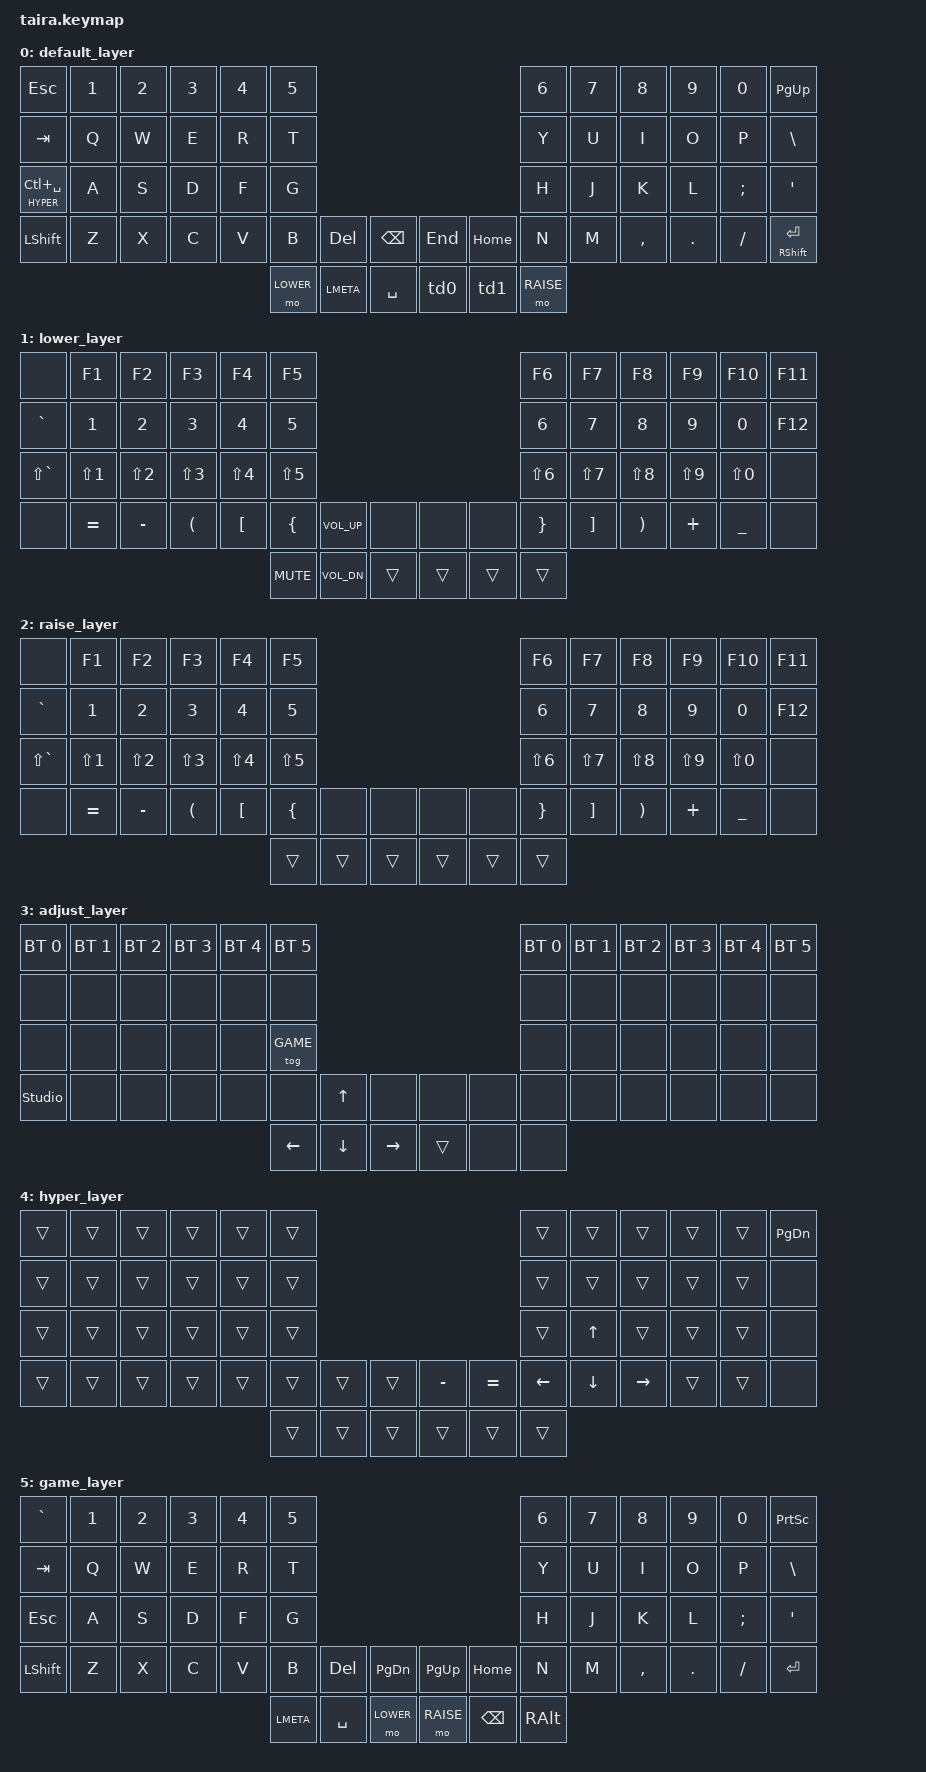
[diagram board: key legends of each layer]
/*
 * Copyright (c) 2020 The ZMK Contributors
 *
 * SPDX-License-Identifier: MIT
 */

#include <behaviors.dtsi>
#include <dt-bindings/zmk/keys.h>
#include <dt-bindings/zmk/outputs.h>
#include <dt-bindings/zmk/bt.h>

#define DEFAULT 0
#define LOWER   1
#define RAISE   2
#define ADJUST  3
#define HYPER   4
#define GAME    5

/ {
        behaviors {
            td0: tap_dance_0 {
                compatible = "zmk,behavior-tap-dance";
                #binding-cells = <0>;
                tapping-term-ms = <200>;
                bindings = <&kp MINUS>, <&kp LBKT>;
            };

            td1: tap_dance_1 {
                compatible = "zmk,behavior-tap-dance";
                #binding-cells = <0>;
                tapping-term-ms = <200>;
                bindings = <&kp EQUAL>, <&kp RBKT>;
            };
        };

        conditional_layers {
                compatible = "zmk,conditional-layers";

                tri_layer {
                        if-layers  = <1 2>;
                        then-layer = <3>;
                };
        };

        keymap {
                compatible = "zmk,keymap";

                default_layer {
/* QWERTY
 * .----------------------------------------------------------------------------------------------------------------------------------.
 * | ESC  |   1  |   2  |   3  |   4  |   5  |                                              |   6  |   7  |   8  |   9  |   0  | BSPC |
 * |-------------+------+------+------+------+------+------+-------+-+-------+-------+------+------+------+------+------+------+------|
 * | Tab  |   Q  |   W  |   E  |   R  |   T  |                                              |   Y  |   U  |   I  |   O  |   P  | BSLH |
 * |-------------+------+------+------+------+------+------+-------+-+-------+-------+------+------+------+------+------+------+------|
 * | HYPER|   A  |   S  |   D  |   F  |   G  |                                              |   H  |   J  |   K  |   L  |   ;  |  '   |
 * |-------------+------+------+------+------+------+------+-------+-+-------+-------+------+------+------+------+------+------+------|
 * | Shift|   Z  |   X  |   C  |   V  |   B  |      | Del  | PGDN  | | PGUP  | Home  |      |   N  |   M  |   ,  |   .  |   /  | Shift/Enter|
 * |-------------+------+------+------+------+------+------+-------+-+-------+-------+------+------+------+------+------+------+------|
 * |      |      |      |      |             | Meta | Space| Lower | | Raise |L Brkt |R Brkt|      |      |      |      |      |      |
 * .----------------------------------------------------------------------------------------------------------------------------------.
 */
                        bindings = <
&kp  ESC             &kp  N1    &kp  N2     &kp  N3     &kp  N4    &kp  N5                                                                        &kp  N6  &kp  N7    &kp  N8     &kp  N9    &kp  N0       &kp  PG_UP
&kp  TAB             &kp  Q     &kp  W      &kp  E      &kp  R     &kp  T                                                                         &kp  Y   &kp  U     &kp  I      &kp  O     &kp  P        &kp  BSLH
&lt  HYPER LC(SPACE) &kp  A     &kp  S      &kp  D      &kp  F     &kp  G                                                                         &kp  H   &kp  J     &kp  K      &kp  L     &kp  SEMI     &kp  SQT
&kp  LSHFT           &kp  Z     &kp  X      &kp  C      &kp  V     &kp  B             &kp  DEL    &kp  BSPC     &kp  END    &kp  HOME             &kp  N   &kp  M     &kp  COMMA  &kp  DOT   &kp  SLASH    &mt  RSHFT ENTER
                                                                           &mo  LOWER &kp  LMETA  &kp  SPACE    &td0        &td1      &mo  RAISE
                        >;
                };

                lower_layer {
/* QWERTY
 * .----------------------------------------------------------------------------------------------------------------------------------.
 * |  `   |   1  |   2  |   3  |   4  |   5  |                                              |   6  |   7  |   8  |   9  |   0  | PScr |
 * |-------------+------+------+------+------+------+------+-------+-+-------+-------+------+------+------+------+------+------+------|
 * | ESC  |   Q  |   W  |   E  |   R  |   T  |                                              |   Y  |   U  |   I  |   O  |   P  |  \   |
 * |-------------+------+------+------+------+------+------+-------+-+-------+-------+------+------+------+------+------+------+------|
 * | Tab  |   A  |   S  |   D  |   F  |   G  |                                              |   H  |   J  |   K  |   L  |   ;  |  '   |
 * |-------------+------+------+------+------+------+------+-------+-+-------+-------+------+------+------+------+------+------+------|
 * | Shift|   Z  |   X  |   C  |   V  |   B  |      | Del  | PGDN  | | PGUP  | Home  |      |   N  |   M  |   ,  |   .  |   /  | Shift|
 * |-------------+------+------+------+------+------+------+-------+-+-------+-------+------+------+------+------+------+------+------|
 * |      |      |      |      |             | Meta | Space| Lower | | Raise | Enter | RAlt |             |      |      |      |      |
 * .----------------------------------------------------------------------------------------------------------------------------------.
 */
                        bindings = <
&none          &kp  F1      &kp  F2      &kp  F3     &kp  F4     &kp  F5                                                                        &kp  F6    &kp  F7    &kp  F8     &kp  F9    &kp  F10      &kp  F11
&kp  GRAVE     &kp  N1      &kp  N2      &kp  N3     &kp  N4     &kp  N5                                                                        &kp  N6    &kp  N7    &kp  N8     &kp  N9    &kp  N0       &kp  F12
&kp  LS(GRAVE) &kp LS(N1)   &kp  LS(N2)  &kp  LS(N3) &kp  LS(N4) &kp  LS(N5)                                                                    &kp LS(N6) &kp LS(N7) &kp LS(N8)  &kp LS(N9) &kp  LS(N0)   &none
&none          &kp EQUAL    &kp MINUS    &kp  LPAR   &kp  LBKT   &kp  LBRC          &kp C_VOL_UP       &none         &none       &none          &kp RBRC   &kp RBKT   &kp RPAR    &kp PLUS   &kp  UNDER    &none
                                                                       &kp C_MUTE    &kp C_VOL_DN      &trans        &trans      &trans    &trans                             
                        >;
                };

                raise_layer {
/* QWERTY
 * .----------------------------------------------------------------------------------------------------------------------------------.
 * |  `   |   1  |   2  |   3  |   4  |   5  |                                              |   6  |   7  |   8  |   9  |   0  | PScr |
 * |-------------+------+------+------+------+------+------+-------+-+-------+-------+------+------+------+------+------+------+------|
 * | ESC  |   Q  |   W  |   E  |   R  |   T  |                                              |   Y  |   U  |   I  |   O  |   P  |  \   |
 * |-------------+------+------+------+------+------+------+-------+-+-------+-------+------+------+------+------+------+------+------|
 * | Tab  |   A  |   S  |   D  |   F  |   G  |                                              |   H  |   J  |   K  |   L  |   ;  |  '   |
 * |-------------+------+------+------+------+------+------+-------+-+-------+-------+------+------+------+------+------+------+------|
 * | Shift|   Z  |   X  |   C  |   V  |   B  |      | Del  | PGDN  | | PGUP  | Home  |      |   N  |   M  |   ,  |   .  |   /  | Shift|
 * |-------------+------+------+------+------+------+------+-------+-+-------+-------+------+------+------+------+------+------+------|
 * |      |      |      |      |             | Meta | Space| Lower | | Raise | Enter | RAlt |             |      |      |      |      |
 * .----------------------------------------------------------------------------------------------------------------------------------.
 */
                        bindings = <
&none          &kp  F1      &kp  F2      &kp  F3     &kp  F4     &kp  F5                                                                        &kp  F6    &kp  F7    &kp  F8     &kp  F9    &kp  F10      &kp  F11
&kp  GRAVE     &kp  N1      &kp  N2      &kp  N3     &kp  N4     &kp  N5                                                                        &kp  N6    &kp  N7    &kp  N8     &kp  N9    &kp  N0       &kp  F12
&kp  LS(GRAVE) &kp LS(N1)   &kp  LS(N2)  &kp  LS(N3) &kp  LS(N4) &kp  LS(N5)                                                                    &kp LS(N6) &kp LS(N7) &kp LS(N8)  &kp LS(N9) &kp  LS(N0)   &none
&none          &kp EQUAL    &kp MINUS    &kp  LPAR   &kp  LBKT   &kp  LBRC          &none       &none         &none       &none                 &kp RBRC   &kp RBKT   &kp RPAR    &kp PLUS   &kp  UNDER    &none
                                                                          &trans    &trans      &trans        &trans      &trans    &trans                             
                        >;
                };

                adjust_layer {
/* QWERTY
 * .----------------------------------------------------------------------------------------------------------------------------------.
 * |  `   |   1  |   2  |   3  |   4  |   5  |                                              |   6  |   7  |   8  |   9  |   0  | PScr |
 * |-------------+------+------+------+------+------+------+-------+-+-------+-------+------+------+------+------+------+------+------|
 * | ESC  |   Q  |   W  |   E  |   R  |   T  |                                              |   Y  |   U  |   I  |   O  |   P  |  \   |
 * |-------------+------+------+------+------+------+------+-------+-+-------+-------+------+------+------+------+------+------+------|
 * | Tab  |   A  |   S  |   D  |   F  |   G  |                                              |   H  |   J  |   K  |   L  |   ;  |  '   |
 * |-------------+------+------+------+------+------+------+-------+-+-------+-------+------+------+------+------+------+------+------|
 * | Shift|   Z  |   X  |   C  |   V  |   B  |      | Del  | PGDN  | | PGUP  | Home  |      |   N  |   M  |   ,  |   .  |   /  | Shift|
 * |-------------+------+------+------+------+------+------+-------+-+-------+-------+------+------+------+------+------+------+------|
 * |      |      |      |      |             | Meta | Space| Lower | | Raise | Enter | RAlt |             |      |      |      |      |
 * .----------------------------------------------------------------------------------------------------------------------------------.
 */
                        bindings = <
&bt BT_SEL 0 &bt BT_SEL 1 &bt BT_SEL 2 &bt BT_SEL 3 &bt BT_SEL 4 &bt BT_SEL 5                                                                          &bt BT_SEL 0 &bt BT_SEL 1 &bt BT_SEL 2 &bt BT_SEL 3 &bt BT_SEL 4 &bt BT_SEL 5
&none            &none        &none        &none        &none        &none                                                                             &none        &none        &none        &none        &none        &none
&none            &none        &none        &none        &none        &tog GAME                                                                         &none        &none        &none        &none        &none        &none
&studio_unlock   &none        &none        &none        &none        &none                 &kp UP      &none         &none       &none                 &none        &none        &none        &none        &none        &none
                                                                                 &kp LEFT  &kp DOWN    &kp RIGHT     &trans      &none     &none
                        >;
                };

                hyper_layer {
/* QWERTY
 * .----------------------------------------------------------------------------------------------------------------------------------.
 * |  `   |   1  |   2  |   3  |   4  |   5  |                                              |   6  |   7  |   8  |   9  |   0  | PScr |
 * |-------------+------+------+------+------+------+------+-------+-+-------+-------+------+------+------+------+------+------+------|
 * | ESC  |   Q  |   W  |   E  |   R  |   T  |                                              |   Y  |   U  |   I  |   O  |   P  |  \   |
 * |-------------+------+------+------+------+------+------+-------+-+-------+-------+------+------+------+------+------+------+------|
 * | Tab  |   A  |   S  |   D  |   F  |   G  |                                              |   H  |   J  |   K  |   L  |   ;  |  '   |
 * |-------------+------+------+------+------+------+------+-------+-+-------+-------+------+------+------+------+------+------+------|
 * | Shift|   Z  |   X  |   C  |   V  |   B  |      | Del  | PGDN  | | PGUP  | Home  |      |   N  |   M  |   ,  |   .  |   /  | Shift|
 * |-------------+------+------+------+------+------+------+-------+-+-------+-------+------+------+------+------+------+------+------|
 * |      |      |      |      |             | Meta | Space| Lower | | Raise | Enter | RAlt |             |      |      |      |      |
 * .----------------------------------------------------------------------------------------------------------------------------------.
 */
                        bindings = <
&trans        &trans     &trans      &trans      &trans      &trans                                                                         &trans   &trans     &trans      &trans     &trans        &kp  PG_DN
&trans        &trans     &trans      &trans      &trans      &trans                                                                         &trans   &trans     &trans      &trans     &trans        &none
&trans        &trans     &trans      &trans      &trans      &trans                                                                         &trans   &kp UP     &trans      &trans     &trans        &none
&trans        &trans     &trans      &trans      &trans      &trans             &trans      &trans        &kp MINUS   &kp EQUAL             &kp LEFT &kp DOWN   &kp RIGHT   &trans     &trans        &none
                                                                     &trans     &trans      &trans        &trans      &trans    &trans                           
                        >;
                };

                game_layer {
                        bindings = <
&kp  GRAVE    &kp  N1    &kp  N2     &kp  N3     &kp  N4    &kp  N5                                                                        &kp  N6  &kp  N7    &kp  N8     &kp  N9    &kp  N0       &kp  PSCRN
&kp  TAB      &kp  Q     &kp  W      &kp  E      &kp  R     &kp  T                                                                         &kp  Y   &kp  U     &kp  I      &kp  O     &kp  P        &kp  BSLH
&kp  ESC      &kp  A     &kp  S      &kp  D      &kp  F     &kp  G                                                                         &kp  H   &kp  J     &kp  K      &kp  L     &kp  SEMI     &kp  SQT
&kp  LSHFT    &kp  Z     &kp  X      &kp  C      &kp  V     &kp  B             &kp  DEL    &kp  PG_DN    &kp  PG_UP  &kp  HOME             &kp  N   &kp  M     &kp  COMMA  &kp  DOT   &kp  SLASH    &kp  ENTER
                                                                     &kp LMETA &kp  SPACE  &mo  LOWER    &mo  RAISE  &kp  BSPC &kp  RALT                        
                        >;
                };
        };
};
